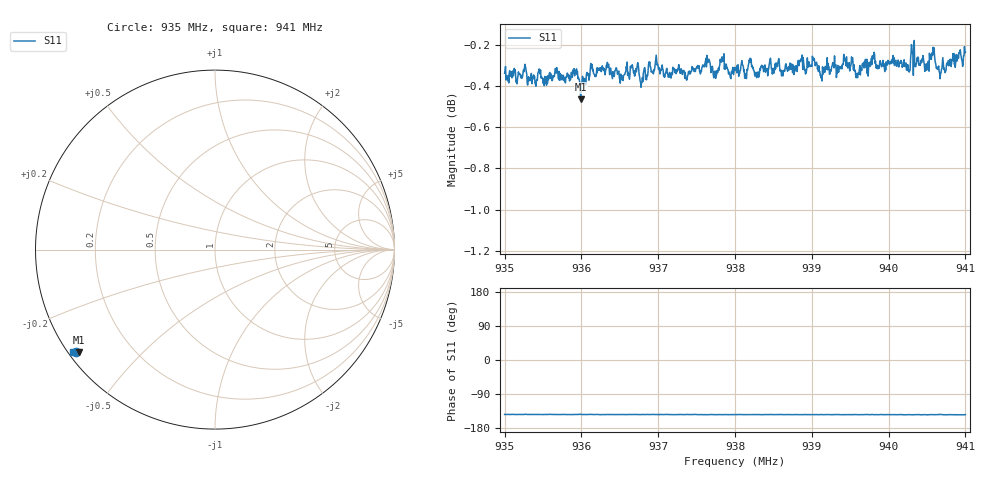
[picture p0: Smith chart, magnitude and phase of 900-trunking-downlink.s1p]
! Calibrated averaged scanner-service zoom
# Hz S RI R 50
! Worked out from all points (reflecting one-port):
!   1001 points, 935 MHz to 941 MHz, reference 50 ohm
!   lowest |S11| = -0.5 dB at 935.99 MHz (marker M1), VSWR 37.43, Z = 1.49 - j16.7 ohm
!   phase of S11 starts at -144 deg and turns -1 deg over the sweep
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9.35e8  -0.7744 -0.5705
9.3575e8  -0.773 -0.5667
9.35906e8  -0.7776 -0.5704
9.3599e8  -0.7565 -0.5712
9.36254e8  -0.7802 -0.5645
9.36332e8  -0.7765 -0.5729
9.365e8  -0.7749 -0.563
9.36644e8  -0.779 -0.569
9.36776e8  -0.773 -0.5597
9.3725e8  -0.7802 -0.5663
9.37478e8  -0.7756 -0.5728
9.37634e8  -0.7875 -0.569
9.37712e8  -0.7822 -0.5621
9.37826e8  -0.7848 -0.5667
9.38e8  -0.7803 -0.5652
9.3875e8  -0.7808 -0.5623
9.395e8  -0.7818 -0.5655
9.39572e8  -0.7786 -0.5622
9.398e8  -0.7873 -0.5683
9.40172e8  -0.7822 -0.57
9.4025e8  -0.7855 -0.5632
9.40316e8  -0.7911 -0.5653
9.4037e8  -0.7869 -0.5676
9.40502e8  -0.7887 -0.5573
9.40574e8  -0.7881 -0.5684
9.40664e8  -0.7725 -0.574
9.40742e8  -0.7836 -0.5596
9.41e8  -0.7896 -0.569
